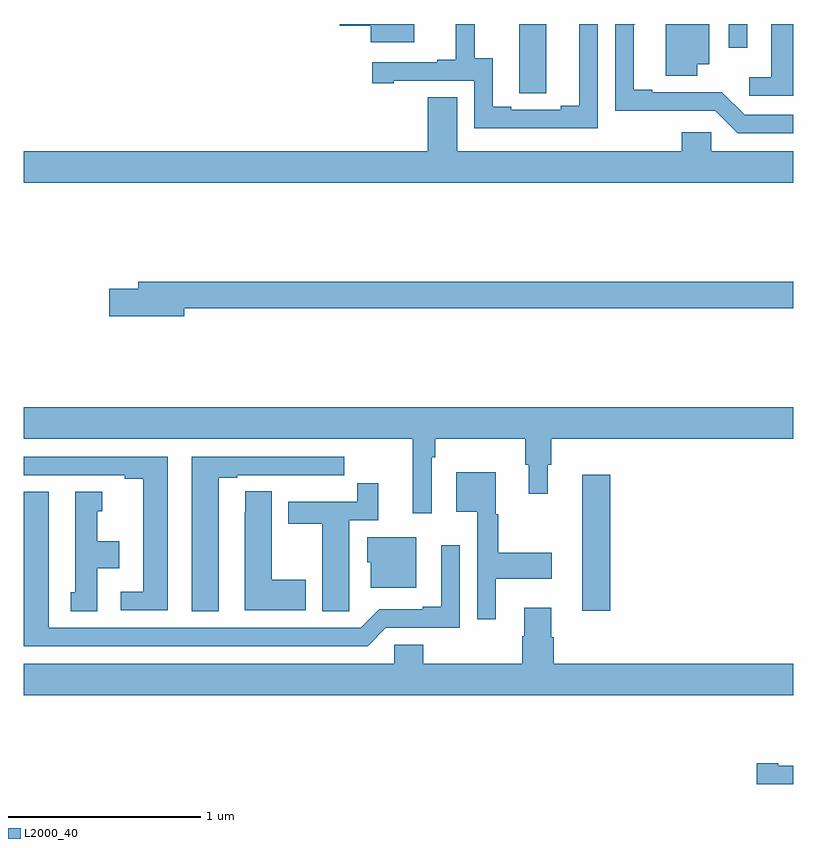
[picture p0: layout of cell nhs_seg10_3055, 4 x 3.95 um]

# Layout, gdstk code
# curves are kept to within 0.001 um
import gdstk
lib = gdstk.Library(unit=1e-6, precision=1e-09)
def R(c, l, rs):  # rectangles x0, y0, x1, y1
    for r in rs: c.add(gdstk.rectangle(r[:2], r[2:], *l))
def P(c, l, *ps):  # polygons
    for p in ps: c.add(gdstk.Polygon(p, *l))
L2000_40 = (2000, 40)

nhs_seg10_3055 = lib.new_cell('nhs_seg10_3055')
R(nhs_seg10_3055, L2000_40, [(279.902,1271.451,280.049,1272.157), (280.665,1274.376,280.761,1274.5)])
P(nhs_seg10_3055, L2000_40, [(279.031,1274.5),(278.643,1274.5),(278.643,1274.492),(278.804,1274.492),(278.804,1274.405),(279.031,1274.405)],
  [(281,1274.5),(280.886,1274.5),(280.886,1274.224),(280.77,1274.224),(280.77,1274.127),(281,1274.127)],
  [(280.501,1274.291),(280.564,1274.291),(280.564,1274.5),(280.337,1274.5),(280.337,1274.23),(280.501,1274.23)],
  [(279.984,1274.5),(279.887,1274.5),(279.887,1274.075),(279.791,1274.075),(279.791,1274.055),(279.535,1274.055),(279.535,1274.07),(279.439,1274.07),(279.439,1274.321),(279.345,1274.321),(279.345,1274.5),(279.245,1274.5),(279.245,1274.314),(279.149,1274.314),(279.149,1274.301),(278.811,1274.301),(278.811,1274.193),(278.923,1274.193),(278.923,1274.205),(279.342,1274.205),(279.342,1273.959),(279.984,1273.959)],
  [(281,1274.028),(280.746,1274.028),(280.628,1274.146),(280.267,1274.145),(280.267,1274.158),(280.171,1274.158),(280.171,1274.494),(280.177,1274.5),(280.074,1274.5),(280.074,1274.048),(280.593,1274.049),(280.71,1273.932),(281,1273.932)],
  [(279.715,1274.5),(279.575,1274.5),(279.575,1274.248),(279.576,1274.248),(279.576,1274.14),(279.715,1274.14)],
  [(281,1273.84),(280.572,1273.84),(280.572,1273.938),(280.421,1273.938),(280.421,1273.84),(279.253,1273.84),(279.253,1274.12),(279.101,1274.12),(279.101,1273.84),(277,1273.84),(277,1273.676),(281,1273.676)],
  [(277.834,1273.024),(281,1273.024),(281,1273.16),(277.595,1273.16),(277.595,1273.124),(277.446,1273.124),(277.446,1272.982),(277.834,1272.982)],
  [(279.12,1272.248),(279.14,1272.248),(279.14,1272.344),(279.607,1272.344),(279.607,1272.21),(279.626,1272.21),(279.626,1272.06),(279.724,1272.06),(279.724,1272.21),(279.743,1272.21),(279.743,1272.344),(281,1272.344),(281,1272.508),(277,1272.508),(277,1272.344),(279.023,1272.344),(279.023,1271.958),(279.12,1271.958)],
  [(277.75,1272.252),(277,1272.252),(277,1272.156),(277.526,1272.156),(277.526,1272.136),(277.622,1272.136),(277.622,1271.55),(277.506,1271.55),(277.506,1271.454),(277.75,1271.454)],
  [(278.014,1272.141),(278.11,1272.141),(278.11,1272.156),(278.386,1272.156),(278.386,1272.155),(278.552,1272.155),(278.552,1272.156),(278.665,1272.156),(278.665,1272.252),(277.874,1272.252),(277.874,1271.449),(278.014,1271.449)],
  [(279.454,1271.618),(279.745,1271.618),(279.745,1271.753),(279.466,1271.753),(279.466,1271.952),(279.454,1271.952),(279.454,1272.172),(279.248,1272.172),(279.248,1271.966),(279.357,1271.966),(279.357,1271.406),(279.454,1271.406)],
  [(278.691,1271.56),(278.692,1271.56),(278.692,1271.922),(278.843,1271.922),(278.843,1272.115),(278.734,1272.115),(278.734,1272.018),(278.375,1272.018),(278.375,1271.902),(278.552,1271.902),(278.552,1271.449),(278.691,1271.449)],
  [(278.467,1271.613),(278.29,1271.613),(278.29,1272.071),(278.151,1272.071),(278.151,1271.963),(278.15,1271.963),(278.15,1271.453),(278.467,1271.453)],
  [(277.384,1271.672),(277.498,1271.672),(277.498,1271.812),(277.384,1271.812),(277.384,1271.967),(277.408,1271.967),(277.408,1272.07),(277.268,1272.07),(277.268,1271.547),(277.244,1271.547),(277.244,1271.449),(277.384,1271.449)],
  [(278.883,1271.364),(279.267,1271.364),(279.267,1271.791),(279.17,1271.791),(279.17,1271.473),(279.074,1271.473),(279.074,1271.46),(278.847,1271.46),(278.751,1271.364),(277.132,1271.364),(277.132,1272.07),(277,1272.07),(277,1271.268),(278.787,1271.268)],
  [(279.04,1271.833),(278.786,1271.833),(278.786,1271.703),(278.804,1271.703),(278.804,1271.57),(279.04,1271.57)],
  [(281,1271.176),(279.755,1271.176),(279.755,1271.313),(279.742,1271.313),(279.742,1271.467),(279.602,1271.467),(279.602,1271.318),(279.59,1271.318),(279.59,1271.176),(279.077,1271.176),(279.077,1271.274),(278.925,1271.274),(278.925,1271.176),(277,1271.176),(277,1271.012),(281,1271.012)],
  [(281,1270.647),(280.921,1270.647),(280.921,1270.66),(280.809,1270.66),(280.809,1270.551),(281,1270.551)])

lib.write_gds('nhs_seg10_3055.gds')
